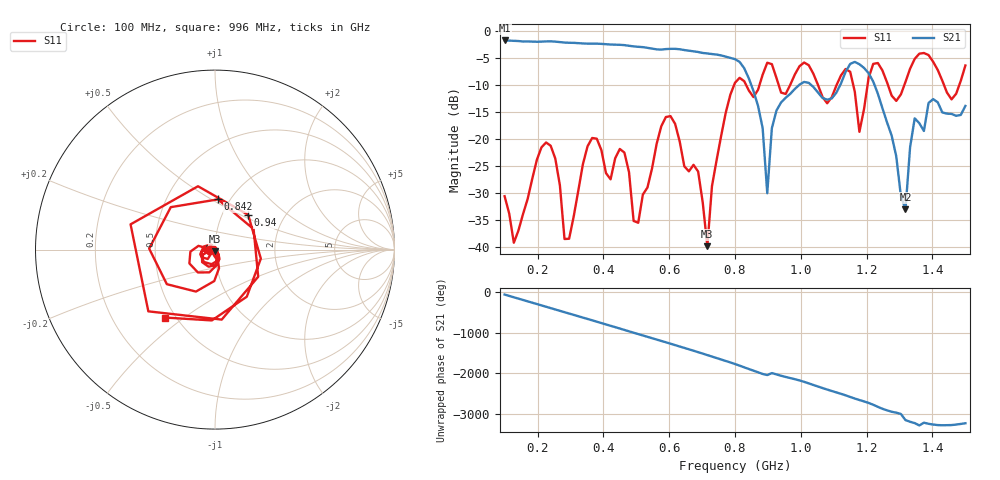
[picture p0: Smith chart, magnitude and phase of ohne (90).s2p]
! NanoVNA-App
! Date: 2025-09-26 09:56:06
! Start: 100MHz Stop: 1,5GHz Points: 101
! S-Parameter data: F S11 S21 S12 S22
# Hz S RI R 50
!  Frequency  S11_Real  S11_Imag  S21_Real  S21_Imag  S12_Real  S12_Imag  S22_Real  S22_Imag
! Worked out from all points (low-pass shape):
!   101 points, 100 MHz to 1.5 GHz, reference 50 ohm
!   highest |S21| = -1.79 dB at 100 MHz (marker M1); lowest = -33.1 dB at 1.318 GHz (marker M2)
!   |S21| within 3 dB of the highest: start of sweep to 772.1 MHz
!   lowest |S11| = -39.9 dB at 716 MHz (marker M3), VSWR 1.02, Z = 49.8 - j0.984 ohm
!   |S11| at or under -10 dB: start of sweep to 797.6 MHz; 833.4 MHz to 874.6 MHz (41.2 MHz wide, 4.82 % of centre); 1.052 GHz to 1.109 GHz (57.03 MHz wide, 5.28 % of centre)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
!   S12 and S22 are empty: the file has one direction only
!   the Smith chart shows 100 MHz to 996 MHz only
!   S11 on the Smith chart (normalised r, x): 100 MHz: 0.94, -0.01; 842 MHz: 0.88, +0.53; 940 MHz: 1.32, +0.55; 996 MHz: 0.44, -0.43
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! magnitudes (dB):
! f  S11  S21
! 100 MHz  -30.6  -1.8
! 128 MHz  -39.3  -1.9
! 226 MHz  -20.7  -2.0
! 296 MHz  -38.5  -2.2
! 338 MHz  -24.7  -2.3
! 464 MHz  -22.6  -2.7
! 506 MHz  -35.5  -3.0
! 576 MHz  -17.7  -3.5
! 688 MHz  -26.1  -3.9
! 716 MHz  -39.9  -4.2
! 800 MHz  -9.6  -5.3
! 842 MHz  -11.0  -8.8
! 898 MHz  -5.9  -30.1
! 940 MHz  -11.4  -13.3
! 996 MHz  -6.6  -10.0
! 1.038 GHz  -7.9  -10.4
! 1.178 GHz  -18.7  -6.2
! 1.22 GHz  -6.1  -9.4
! 1.276 GHz  -12.0  -19.4
! 1.318 GHz  -9.5  -33.1
! 1.346 GHz  -5.2  -16.2
! 1.5 GHz  -6.4  -13.9
